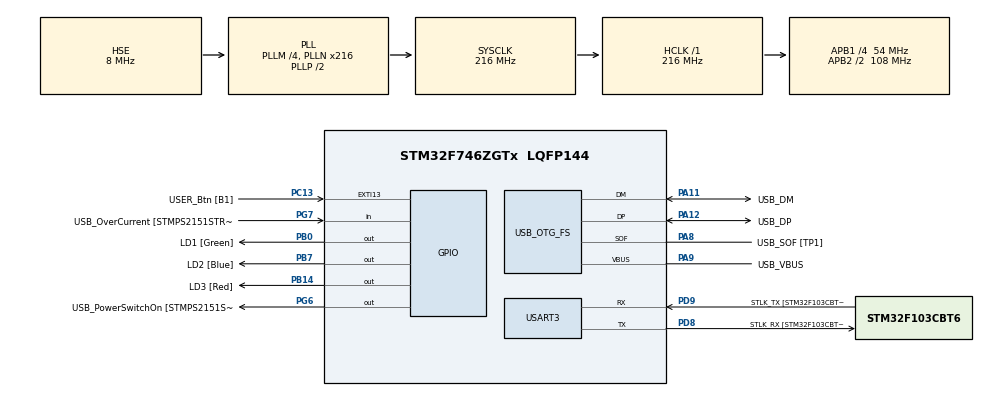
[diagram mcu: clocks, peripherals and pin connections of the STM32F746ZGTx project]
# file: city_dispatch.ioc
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FREERTOS.Tasks01=defaultTask,24,128,StartDefaultTask,Default,NULL,Dynamic,NULL,NULL
FREERTOS.configTOTAL_HEAP_SIZE=100000
FREERTOS.configUSE_NEWLIB_REENTRANT=1
Mcu.Family=STM32F7
Mcu.Name=STM32F746ZGTx
Mcu.Package=LQFP144
NVIC.EXTI15_10_IRQn=true\:5\:0\:false\:false\:true\:true\:true\:true\:true
NVIC.HASH_RNG_IRQn=true\:15\:0\:true\:false\:true\:true\:true\:true\:true
NVIC.PriorityGroup=NVIC_PRIORITYGROUP_4
NVIC.TIM2_IRQn=true\:10\:0\:true\:false\:true\:true\:true\:true\:true
NVIC.TIM6_DAC_IRQn=true\:15\:0\:false\:false\:true\:false\:false\:true\:true
NVIC.TimeBase=TIM6_DAC_IRQn
NVIC.TimeBaseIP=TIM6
PA1.GPIO_Label=RMII_REF_CLK [LAN8742A-CZ-TR_REFCLK0]
PA1.Signal=ETH_REF_CLK
PA10.GPIO_Label=USB_ID
PA10.Signal=USB_OTG_FS_ID
PA11.GPIO_Label=USB_DM
PA11.Mode=Device_Only
PA11.Signal=USB_OTG_FS_DM
PA12.GPIO_Label=USB_DP
PA12.Mode=Device_Only
PA12.Signal=USB_OTG_FS_DP
PA13.GPIO_Label=TMS
PA13.Mode=Serial_Wire
PA13.Signal=SYS_JTMS-SWDIO
PA14.GPIO_Label=TCK
PA14.Mode=Serial_Wire
PA14.Signal=SYS_JTCK-SWCLK
PA2.GPIO_Label=RMII_MDIO [LAN8742A-CZ-TR_MDIO]
PA2.Signal=ETH_MDIO
PA7.GPIO_Label=RMII_CRS_DV [LAN8742A-CZ-TR_CRS_DV]
PA7.Signal=ETH_CRS_DV
PA8.GPIO_Label=USB_SOF [TP1]
PA8.Mode=Activate_SOF_FS
PA8.Signal=USB_OTG_FS_SOF
PA9.GPIO_Label=USB_VBUS
PA9.Mode=Activate_VBUS
PA9.Signal=USB_OTG_FS_VBUS
PB0.GPIO_Label=LD1 [Green]
PB0.Signal=GPIO_Output
PB13.GPIO_Label=RMII_TXD1 [LAN8742A-CZ-TR_TXD1]
PB13.Signal=ETH_TXD1
PB14.GPIO_Label=LD3 [Red]
PB14.Signal=GPIO_Output
PB3.GPIO_Label=SW0
PB3.Signal=SYS_JTDO-SWO
PB7.GPIO_Label=LD2 [Blue]
PB7.Signal=GPIO_Output
PC1.GPIO_Label=RMII_MDC [LAN8742A-CZ-TR_MDC]
PC1.Signal=ETH_MDC
PC13.GPIO_Label=USER_Btn [B1]
PC13.GPIO_ModeDefaultEXTI=GPIO_MODE_IT_RISING_FALLING
PC13.Signal=GPXTI13
PC14/OSC32_IN.Signal=RCC_OSC32_IN
PC15/OSC32_OUT.Signal=RCC_OSC32_OUT
PC4.GPIO_Label=RMII_RXD0 [LAN8742A-CZ-TR_RXD0]
PC4.Signal=ETH_RXD0
PC5.GPIO_Label=RMII_RXD1 [LAN8742A-CZ-TR_RXD1]
PC5.Signal=ETH_RXD1
PD8.GPIO_Label=STLK_RX [STM32F103CBT6_PA3]
PD8.GPIO_PuPd=GPIO_PULLUP
PD8.Mode=Asynchronous
PD8.Signal=USART3_TX
PD9.GPIO_Label=STLK_TX [STM32F103CBT6_PA2]
PD9.GPIO_PuPd=GPIO_PULLUP
PD9.Mode=Asynchronous
PD9.Signal=USART3_RX
PG11.GPIO_Label=RMII_TX_EN [LAN8742A-CZ-TR_TXEN]
PG11.Signal=ETH_TX_EN
PG13.GPIO_Label=RMII_TXD0 [LAN8742A-CZ-TR_TXD0]
PG13.Signal=ETH_TXD0
PG6.GPIO_Label=USB_PowerSwitchOn [STMPS2151STR_EN]
PG6.Signal=GPIO_Output
PG7.GPIO_Label=USB_OverCurrent [STMPS2151STR_FAULT]
PG7.Signal=GPIO_Input
PH0/OSC_IN.GPIO_Label=MCO [STM32F103CBT6_PA8]
PH0/OSC_IN.Mode=HSE-External-Oscillator
PH0/OSC_IN.Signal=RCC_OSC_IN
PH1/OSC_OUT.Mode=HSE-External-Oscillator
PH1/OSC_OUT.Signal=RCC_OSC_OUT
ProjectManager.HeapSize=0x200
ProjectManager.StackSize=0x400
ProjectManager.TargetToolchain=STM32CubeIDE
RCC.48MHZClocksFreq_Value=24000000
RCC.AHBFreq_Value=216000000
RCC.APB1CLKDivider=RCC_HCLK_DIV4
RCC.APB1Freq_Value=54000000
RCC.APB1TimFreq_Value=108000000
RCC.APB2CLKDivider=RCC_HCLK_DIV2
RCC.APB2Freq_Value=108000000
RCC.APB2TimFreq_Value=216000000
RCC.CortexFreq_Value=216000000
RCC.HCLKFreq_Value=216000000
RCC.HSE_VALUE=8000000
RCC.HSI_VALUE=16000000
RCC.LSE_VALUE=32768
RCC.PLLM=4
RCC.PLLMUL=RCC_PLL_MUL9
RCC.PLLN=216
RCC.PLLQ=9
RCC.PRESCALERUSB=RCC_USBCLKSOURCE_PLL_DIV1_5
RCC.SYSCLKFreq_VALUE=216000000
RCC.SYSCLKSource=RCC_SYSCLKSOURCE_PLLCLK
RCC.SYSCLKSourceVirtual=RCC_SYSCLKSOURCE_PLLCLK
RCC.USBFreq_Value=48000000
RCC.VCOOutputFreq_Value=432000000
TIM2.Period=3999
TIM2.Prescaler=539
USART3.VirtualMode-Asynchronous=VM_ASYNC
USB_OTG_FS.VirtualMode=Device_Only
VP_FREERTOS_VS_CMSIS_V2.Mode=CMSIS_V2
VP_RNG_VS_RNG.Mode=RNG_Activate
VP_SYS_VS_tim6.Mode=TIM6
VP_TIM2_VS_ClockSourceINT.Mode=Internal
board=NUCLEO-F746ZG

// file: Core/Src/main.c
/* USER CODE BEGIN Header */
/**
  ******************************************************************************
  * @file           : main.c
  * @brief          : Main program body
  ******************************************************************************
  * @attention
  *
  * Copyright (c) 2024 STMicroelectronics.
  * All rights reserved.
  *
  * This software is licensed under terms that can be found in the LICENSE file
  * in the root directory of this software component.
  * If no LICENSE file comes with this software, it is provided AS-IS.
  *
  ******************************************************************************
  */
/* USER CODE END Header */
#include "main.h"
#include "cmsis_os.h"

RNG_HandleTypeDef hrng;

TIM_HandleTypeDef htim2;

UART_HandleTypeDef huart3;

PCD_HandleTypeDef hpcd_USB_OTG_FS;

/* Definitions for defaultTask */
osThreadId_t defaultTaskHandle;
const osThreadAttr_t defaultTask_attributes = {
  .name = "defaultTask",
  .stack_size = 128 * 4,
  .priority = (osPriority_t) osPriorityNormal,
};
/* USER CODE BEGIN PV */

// QUEUE Handles
QueueHandle_t qAmbulance;
QueueHandle_t qPolice;
QueueHandle_t qFire;
QueueHandle_t qCorona;
QueueHandle_t qDispatcher;
QueueHandle_t qLogger;
QueueHandle_t qBtnData;

// TASKS Handles
TaskHandle_t vAmbulanceTasks[AMBULANCE_TASKS];
TaskHandle_t vPoliceTasks[POLICE_TASKS];
TaskHandle_t vFireTasks[FIRE_TASKS];
TaskHandle_t vCoronaTasks[CORONA_TASKS];
TaskHandle_t vDispatcherTask;
TaskHandle_t vInitTaskHandle;
TaskHandle_t vTasksManagerTask;
TaskHandle_t vGetDataTask;
TaskHandle_t vLoggerTask;
TaskHandle_t vBtnDataTask;

// TASKS Status Arrays and their
bool bAmbTasksStatus[AMBULANCE_TASKS] = {false};
SemaphoreHandle_t AmbTasksStatusMutex;
bool bPolTasksStatus[POLICE_TASKS] = {false};
SemaphoreHandle_t PolTasksStatusMutex;
bool bFireTasksStatus[FIRE_TASKS] = {false};
SemaphoreHandle_t FireTasksStatusMutex;
bool bCorTasksStatus[CORONA_TASKS] = {false};
SemaphoreHandle_t CorTasksStatusMutex;

// Print to console mutex
SemaphoreHandle_t printfMutex;

// TASKS Data Objects
float total_tasks_time = 0;
uint32_t total_tasks_ran = 0;
float average_task_time = 0.0f;
int8_t current_running_tasks = 0;

// Currently available department tasks
uint8_t available_amb_tasks = AMBULANCE_TASKS;
uint8_t available_police_tasks = POLICE_TASKS;
uint8_t available_fire_tasks = FIRE_TASKS;
uint8_t available_corona_tasks = CORONA_TASKS;

SemaphoreHandle_t xTasksDataMutex;

TickType_t btnTickStart;
TickType_t btnTickEnd;

/*
 * btnFlagState:
 * value 0 - not in data print state
 * value 1 - in data print state.
 */
uint8_t btnFlagState = 0;
bool btnFlag = false;
TimerHandle_t xDebounceTimer;
bool btnTimerUsed = false;

/* USER CODE END PV */

void SystemClock_Config(void);
static void MX_GPIO_Init(void);
static void MX_USART3_UART_Init(void);
static void MX_USB_OTG_FS_PCD_Init(void);
static void MX_RNG_Init(void);
static void MX_TIM2_Init(void);
void StartDefaultTask(void *argument);

/* USER CODE BEGIN PFP */

void initQueues(void);
void initTasks(void);
void initSemaphores(void);
//void initTasks(void);
/* USER CODE END PFP */

int main(void)
{

  /* MCU Configuration--------------------------------------------------------*/

  /* Reset of all peripherals, Initializes the Flash interface and the Systick. */
  HAL_Init();

  /* Configure the system clock */
  SystemClock_Config();

  /* Initialize all configured peripherals */
  MX_GPIO_Init();
  MX_USART3_UART_Init();
  MX_USB_OTG_FS_PCD_Init();
  MX_RNG_Init();
  MX_TIM2_Init();

  /* Init scheduler */

  /* Create the thread(s) */
  /* creation of defaultTask */

  /* USER CODE BEGIN RTOS_THREADS */
  initQueues();
  initSemaphores();
  xDebounceTimer = xTimerCreate("DebounceTimer",
		  	  	  	  	  	  	 pdMS_TO_TICKS(50),
								 pdFALSE,
								 (void*)0,
								 DebounceTimerCallback);
  BaseType_t status;
  status = xTaskCreate((TaskFunction_t)initTasks,
		  "init_task",
		  configMINIMAL_STACK_SIZE,
		  (void*) 1,
		  configMAX_PRIORITIES,
		  &vInitTaskHandle);
  configASSERT(status ==  pdTRUE);

  status = xTaskCreate((TaskFunction_t)Logger_Print,
		  "Logger",
		  TASKS_MEMORY_SIZE,
		  (void*) 1,
		  LOGGER_TASK_PRIORITY,
		  &vLoggerTask);
  configASSERT(status ==  pdTRUE);

  status = xTaskCreate((TaskFunction_t)Data_Print,
		  "Print Data",
		  TASKS_MEMORY_SIZE,
		  (void*) 1,
		  LOGGER_TASK_PRIORITY,
		  &vBtnDataTask);
  configASSERT(status ==  pdTRUE);

  /* add threads, ... */

  /* USER CODE END RTOS_THREADS */

  /* USER CODE BEGIN RTOS_EVENTS */
  /* add events, ... */

  vTaskStartScheduler();

  /* USER CODE END RTOS_EVENTS */

  /* Start scheduler */

  /* We should never get here as control is now taken by the scheduler */

  /* Infinite loop */
  while (1)
  {

  }
}

void SystemClock_Config(void)
{
  RCC_OscInitTypeDef RCC_OscInitStruct = {0};
  RCC_ClkInitTypeDef RCC_ClkInitStruct = {0};

  /** Configure the main internal regulator output voltage
  */
  __HAL_RCC_PWR_CLK_ENABLE();
  __HAL_PWR_VOLTAGESCALING_CONFIG(PWR_REGULATOR_VOLTAGE_SCALE1);

  /** Initializes the RCC Oscillators according to the specified parameters
  * in the RCC_OscInitTypeDef structure.
  */
  RCC_OscInitStruct.OscillatorType = RCC_OSCILLATORTYPE_HSE;
  RCC_OscInitStruct.HSEState = RCC_HSE_ON;
  RCC_OscInitStruct.PLL.PLLState = RCC_PLL_ON;
  RCC_OscInitStruct.PLL.PLLSource = RCC_PLLSOURCE_HSE;
  RCC_OscInitStruct.PLL.PLLM = 4;
  RCC_OscInitStruct.PLL.PLLN = 216;
  RCC_OscInitStruct.PLL.PLLP = RCC_PLLP_DIV2;
  RCC_OscInitStruct.PLL.PLLQ = 9;
  if (HAL_RCC_OscConfig(&RCC_OscInitStruct) != HAL_OK)
  {
    Error_Handler();
  }

  /** Activate the Over-Drive mode
  */
  if (HAL_PWREx_EnableOverDrive() != HAL_OK)
  {
    Error_Handler();
  }

  /** Initializes the CPU, AHB and APB buses clocks
  */
  RCC_ClkInitStruct.ClockType = RCC_CLOCKTYPE_HCLK|RCC_CLOCKTYPE_SYSCLK
                              |RCC_CLOCKTYPE_PCLK1|RCC_CLOCKTYPE_PCLK2;
  RCC_ClkInitStruct.SYSCLKSource = RCC_SYSCLKSOURCE_PLLCLK;
  RCC_ClkInitStruct.AHBCLKDivider = RCC_SYSCLK_DIV1;
  RCC_ClkInitStruct.APB1CLKDivider = RCC_HCLK_DIV4;
  RCC_ClkInitStruct.APB2CLKDivider = RCC_HCLK_DIV2;

  if (HAL_RCC_ClockConfig(&RCC_ClkInitStruct, FLASH_LATENCY_7) != HAL_OK)
  {
    Error_Handler();
  }
}

static void MX_RNG_Init(void)
{

  hrng.Instance = RNG;
  if (HAL_RNG_Init(&hrng) != HAL_OK)
  {
    Error_Handler();
  }

}

static void MX_TIM2_Init(void)
{

  TIM_ClockConfigTypeDef sClockSourceConfig = {0};
  TIM_MasterConfigTypeDef sMasterConfig = {0};

  htim2.Instance = TIM2;
  htim2.Init.Prescaler = TIM2_PRESCALER_SET;
  htim2.Init.CounterMode = TIM_COUNTERMODE_UP;
  htim2.Init.Period = TIM2_PERIOD_SET;
  htim2.Init.ClockDivision = TIM_CLOCKDIVISION_DIV1;
  htim2.Init.AutoReloadPreload = TIM_AUTORELOAD_PRELOAD_DISABLE;
  if (HAL_TIM_Base_Init(&htim2) != HAL_OK)
  {
    Error_Handler();
  }
  sClockSourceConfig.ClockSource = TIM_CLOCKSOURCE_INTERNAL;
  if (HAL_TIM_ConfigClockSource(&htim2, &sClockSourceConfig) != HAL_OK)
  {
    Error_Handler();
  }
  sMasterConfig.MasterOutputTrigger = TIM_TRGO_RESET;
  sMasterConfig.MasterSlaveMode = TIM_MASTERSLAVEMODE_DISABLE;
  if (HAL_TIMEx_MasterConfigSynchronization(&htim2, &sMasterConfig) != HAL_OK)
  {
    Error_Handler();
  }

}

static void MX_USART3_UART_Init(void)
{

  huart3.Instance = USART3;
  huart3.Init.BaudRate = 115200;
  huart3.Init.WordLength = UART_WORDLENGTH_8B;
  huart3.Init.StopBits = UART_STOPBITS_1;
  huart3.Init.Parity = UART_PARITY_NONE;
  huart3.Init.Mode = UART_MODE_TX_RX;
  huart3.Init.HwFlowCtl = UART_HWCONTROL_NONE;
  huart3.Init.OverSampling = UART_OVERSAMPLING_16;
  huart3.Init.OneBitSampling = UART_ONE_BIT_SAMPLE_DISABLE;
  huart3.AdvancedInit.AdvFeatureInit = UART_ADVFEATURE_NO_INIT;
  if (HAL_UART_Init(&huart3) != HAL_OK)
  {
    Error_Handler();
  }

}

static void MX_USB_OTG_FS_PCD_Init(void)
{

  hpcd_USB_OTG_FS.Instance = USB_OTG_FS;
  hpcd_USB_OTG_FS.Init.dev_endpoints = 6;
  hpcd_USB_OTG_FS.Init.speed = PCD_SPEED_FULL;
  hpcd_USB_OTG_FS.Init.dma_enable = DISABLE;
  hpcd_USB_OTG_FS.Init.phy_itface = PCD_PHY_EMBEDDED;
  hpcd_USB_OTG_FS.Init.Sof_enable = ENABLE;
  hpcd_USB_OTG_FS.Init.low_power_enable = DISABLE;
  hpcd_USB_OTG_FS.Init.lpm_enable = DISABLE;
  hpcd_USB_OTG_FS.Init.vbus_sensing_enable = ENABLE;
  hpcd_USB_OTG_FS.Init.use_dedicated_ep1 = DISABLE;
  if (HAL_PCD_Init(&hpcd_USB_OTG_FS) != HAL_OK)
  {
    Error_Handler();
  }

}

static void MX_GPIO_Init(void)
{
  GPIO_InitTypeDef GPIO_InitStruct = {0};

  /* GPIO Ports Clock Enable */
  __HAL_RCC_GPIOC_CLK_ENABLE();
  __HAL_RCC_GPIOH_CLK_ENABLE();
  __HAL_RCC_GPIOA_CLK_ENABLE();
  __HAL_RCC_GPIOB_CLK_ENABLE();
  __HAL_RCC_GPIOD_CLK_ENABLE();
  __HAL_RCC_GPIOG_CLK_ENABLE();

  /*Configure GPIO pin Output Level */
  HAL_GPIO_WritePin(GPIOB, LD1_Pin|LD3_Pin|LD2_Pin, GPIO_PIN_RESET);

  /*Configure GPIO pin Output Level */
  HAL_GPIO_WritePin(USB_PowerSwitchOn_GPIO_Port, USB_PowerSwitchOn_Pin, GPIO_PIN_RESET);

  /*Configure GPIO pin : USER_Btn_Pin */
  GPIO_InitStruct.Pin = USER_Btn_Pin;
  GPIO_InitStruct.Mode = GPIO_MODE_IT_RISING_FALLING;
  GPIO_InitStruct.Pull = GPIO_NOPULL;
  HAL_GPIO_Init(USER_Btn_GPIO_Port, &GPIO_InitStruct);

  /*Configure GPIO pins : RMII_MDC_Pin RMII_RXD0_Pin RMII_RXD1_Pin */
  GPIO_InitStruct.Pin = RMII_MDC_Pin|RMII_RXD0_Pin|RMII_RXD1_Pin;
  GPIO_InitStruct.Mode = GPIO_MODE_AF_PP;
  GPIO_InitStruct.Pull = GPIO_NOPULL;
  GPIO_InitStruct.Speed = GPIO_SPEED_FREQ_VERY_HIGH;
  GPIO_InitStruct.Alternate = GPIO_AF11_ETH;
  HAL_GPIO_Init(GPIOC, &GPIO_InitStruct);

  /*Configure GPIO pins : RMII_REF_CLK_Pin RMII_MDIO_Pin RMII_CRS_DV_Pin */
  GPIO_InitStruct.Pin = RMII_REF_CLK_Pin|RMII_MDIO_Pin|RMII_CRS_DV_Pin;
  GPIO_InitStruct.Mode = GPIO_MODE_AF_PP;
  GPIO_InitStruct.Pull = GPIO_NOPULL;
  GPIO_InitStruct.Speed = GPIO_SPEED_FREQ_VERY_HIGH;
  GPIO_InitStruct.Alternate = GPIO_AF11_ETH;
  HAL_GPIO_Init(GPIOA, &GPIO_InitStruct);

  /*Configure GPIO pins : LD1_Pin LD3_Pin LD2_Pin */
  GPIO_InitStruct.Pin = LD1_Pin|LD3_Pin|LD2_Pin;
  GPIO_InitStruct.Mode = GPIO_MODE_OUTPUT_PP;
  GPIO_InitStruct.Pull = GPIO_NOPULL;
  GPIO_InitStruct.Speed = GPIO_SPEED_FREQ_LOW;
  HAL_GPIO_Init(GPIOB, &GPIO_InitStruct);

  /*Configure GPIO pin : RMII_TXD1_Pin */
  GPIO_InitStruct.Pin = RMII_TXD1_Pin;
  GPIO_InitStruct.Mode = GPIO_MODE_AF_PP;
  GPIO_InitStruct.Pull = GPIO_NOPULL;
  GPIO_InitStruct.Speed = GPIO_SPEED_FREQ_VERY_HIGH;
  GPIO_InitStruct.Alternate = GPIO_AF11_ETH;
  HAL_GPIO_Init(RMII_TXD1_GPIO_Port, &GPIO_InitStruct);

  /*Configure GPIO pin : USB_PowerSwitchOn_Pin */
  GPIO_InitStruct.Pin = USB_PowerSwitchOn_Pin;
  GPIO_InitStruct.Mode = GPIO_MODE_OUTPUT_PP;
  GPIO_InitStruct.Pull = GPIO_NOPULL;
  GPIO_InitStruct.Speed = GPIO_SPEED_FREQ_LOW;
  HAL_GPIO_Init(USB_PowerSwitchOn_GPIO_Port, &GPIO_InitStruct);

  /*Configure GPIO pin : USB_OverCurrent_Pin */
  GPIO_InitStruct.Pin = USB_OverCurrent_Pin;
  GPIO_InitStruct.Mode = GPIO_MODE_INPUT;
  GPIO_InitStruct.Pull = GPIO_NOPULL;
  HAL_GPIO_Init(USB_OverCurrent_GPIO_Port, &GPIO_InitStruct);

  /*Configure GPIO pins : RMII_TX_EN_Pin RMII_TXD0_Pin */
  GPIO_InitStruct.Pin = RMII_TX_EN_Pin|RMII_TXD0_Pin;
  GPIO_InitStruct.Mode = GPIO_MODE_AF_PP;
  GPIO_InitStruct.Pull = GPIO_NOPULL;
  GPIO_InitStruct.Speed = GPIO_SPEED_FREQ_VERY_HIGH;
  GPIO_InitStruct.Alternate = GPIO_AF11_ETH;
  HAL_GPIO_Init(GPIOG, &GPIO_InitStruct);

  /* EXTI interrupt init*/
  HAL_NVIC_SetPriority(EXTI15_10_IRQn, 5, 0);
  HAL_NVIC_EnableIRQ(EXTI15_10_IRQn);

}

/* USER CODE BEGIN 4 */

/**
 * @brief Timer callback function for debouncing.
 * @param xTimer: Timer handle
 */
void DebounceTimerCallback(TimerHandle_t xTimer) {
    // Check the pin state after debounce period
    if(HAL_GPIO_ReadPin(GPIOC, GPIO_PIN_13) == GPIO_PIN_SET) {
        // Notify the task if the button is still pressed
    	if(btnFlag) {
    		vTaskResume(vTasksManagerTask);
    		vTaskResume(vLoggerTask);
    	}
    	btnFlag = !btnFlag;
    	BaseType_t xHigherPriorityTaskWoken = pdFALSE;
    	xTaskNotifyFromISR(vGetDataTask, 0x00, eNoAction, &xHigherPriorityTaskWoken);
    	 if (xHigherPriorityTaskWoken == pdTRUE) {
    		 portYIELD_FROM_ISR(xHigherPriorityTaskWoken);
    	 }
    }
}

void HAL_GPIO_EXTI_Callback(uint16_t GPIO_Pin) {
	if(GPIO_Pin == GPIO_PIN_13) {
		if(HAL_GPIO_ReadPin(USER_Btn_GPIO_Port, USER_Btn_Pin) == GPIO_PIN_SET) {
			if(!btnTimerUsed) {
				btnTimerUsed = !btnTimerUsed;
				if(xTimerStartFromISR(xDebounceTimer, 0)!=pdPASS) {
					error_handling("Couldn't start button timer\r\n");
				}
			} else {
				if(xTimerResetFromISR(xDebounceTimer, 0)!=pdPASS) {
					error_handling("Couldn't start button timer\r\n");
				}
			}
		}
	}
}
/* USER CODE END 4 */

void StartDefaultTask(void *argument)
{
  for(;;)
  {
    osDelay(1);
  }
}

void HAL_TIM_PeriodElapsedCallback(TIM_HandleTypeDef *htim)
{
  /* USER CODE BEGIN Callback 0 */
	if(htim->Instance == TIM2) {
		DispatcherPacket new_packet;
		generateDispatcherMSG(&new_packet);
		BaseType_t xHigherPriorityTaskWoken = pdFALSE;
		UBaseType_t qItems = uxQueueMessagesWaitingFromISR( qDispatcher );
		//UBaseType_t uxHighWaterMark = uxTaskGetStackHighWaterMark(vDispatcherTask);
		if( qItems != TASKS_QUEUE_SIZE) {
			xQueueSendFromISR(qDispatcher, &new_packet, NULL);
			xTaskNotifyFromISR(vDispatcherTask, 0x00, eNoAction, &xHigherPriorityTaskWoken);
			//printf("Added to queue! \r\n");
			//fflush(stdout);
		} else {
			xTaskNotifyFromISR(vDispatcherTask, 0x00, eNoAction, &xHigherPriorityTaskWoken);
		}
		if(xHigherPriorityTaskWoken == pdTRUE)
			portYIELD_FROM_ISR(xHigherPriorityTaskWoken);
	}
  /* USER CODE END Callback 0 */
  if (htim->Instance == TIM6) {
    HAL_IncTick();
  }
}

void Error_Handler(void)
{
  /* USER CODE BEGIN Error_Handler_Debug */
  /* User can add his own implementation to report the HAL error return state */
  __disable_irq();
  while (1)
  {
	  vTaskEndScheduler();
	  return;
  }
  /* USER CODE END Error_Handler_Debug */
}
